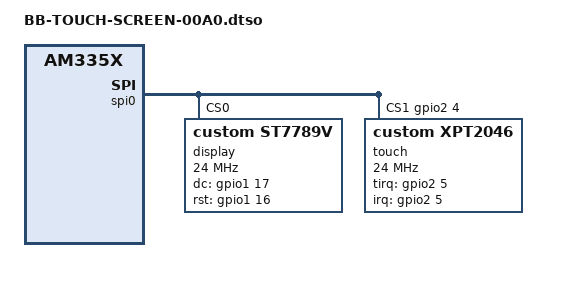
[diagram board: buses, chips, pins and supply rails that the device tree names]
# 0 "BB-TOUCH-SCREEN-00A0.dts"
# 0 "<built-in>"
# 0 "<command-line>"
# 1 "BB-TOUCH-SCREEN-00A0.dts"
/dts-v1/;
/plugin/;
# 1 "/home/tamle/linux/include/dt-bindings/interrupt-controller/irq.h" 1
# 4 "BB-TOUCH-SCREEN-00A0.dts" 2

/ {
    compatible = "ti,am335x-bone-black";

    fragment@0 {
        target = <&ocp>;
        __overlay__ {
            P9_17_pinmux { status = "disabled"; };
            P9_18_pinmux { status = "disabled"; };
            P9_21_pinmux { status = "disabled"; };
            P9_22_pinmux { status = "disabled"; };
            P8_10_pinmux { status = "disabled"; };
        };
    };


    fragment@1 {
        target = <&am33xx_pinmux>;
        __overlay__ {
            my_spi0_pins: pinmux_my_spi0_pins {
                pinctrl-single,pins = <
                    0x150 0x30
                    0x154 0x30
                    0x158 0x10
                    0x15c 0x10
                    0x098 0x17
                >;
            };
        };
    };


    fragment@2 {
        target = <&spi0>;
        __overlay__ {
            status = "okay";
            pinctrl-names = "default";
            pinctrl-0 = <&my_spi0_pins>;

            #address-cells = <1>;
            #size-cells = <0>;
            cs-gpios = <0>, <&gpio2 4 0>;

            display@0 {
                compatible = "custom,st7789v";
                reg = <0>;
                spi-max-frequency = <24000000>;

                dc-gpios = <&gpio1 17 0>;
                rst-gpios = <&gpio1 16 0>;
            };

            touch@1 {
                compatible = "custom,xpt2046";
                reg = <1>;
                spi-max-frequency = <24000000>;
                tirq-gpios = <&gpio2 5 0>;
                interrupt-parent = <&gpio2>;
                interrupts = <5 2>;
            };
        };
    };
};
